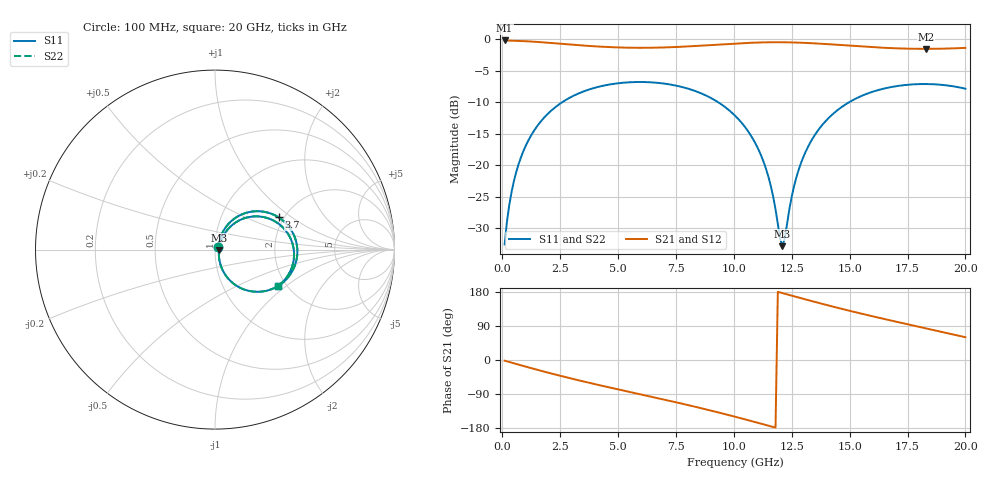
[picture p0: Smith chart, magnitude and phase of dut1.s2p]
! Touchstone file exported from HFSS 2026.1.0
!  File:  C:/ffzhzh/LocalFiles/Ansys_Project_Files/temp_test_TSV_RDL_1_1782978426_45568.aedt
!  Generated:  04:04:23 PM Jul  2, 2026
!  Design:  TSV_RDL
!  Project:  temp_test_TSV_RDL_1_1782978426_45568
! Variables:
!  h_bsmrdl = 5.18um
!  h_ox = 20um
!  h_rdl = 5um
!  h_sub = 77.09um
!  h_tmrdl = 5.94um
!  h_tsv = 77.09um
!  h_via = 3um
!  l_bsmrdl = 448.6um
!  l_sub = 5218.2um
!  l_tmrdl = 827.78um
!  m_sub = 200um
!  pitch = 49.79um
!  r_tsv = 3.22um
!  s_tmrdl = 10um
!  w_bsmrdl = 24.08um
!  w_sub = 500um
!  w_tmrdl = 29.68um
!  x_tsv_center1 = 842.62um
!  x_tsv_center2 = 1315.3um
!  x_tsv_center3 = 2172.76um
!  x_tsv_center4 = 2645.44um
!  x_tsv_center5 = 3502.9um
!  x_tsv_center6 = 3975.58um
# GHz S MA R 50.000000
! Terminal data exported
! Port[1] = TM_RDL1_1_T1
! Port[2] = TM_RDL5_1_T1
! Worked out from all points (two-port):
!   200 points, 100 MHz to 20 GHz, reference 50 ohm
!   highest |S21| = -0.15 dB at 100 MHz (marker M1); lowest = -1.5 dB at 18.3 GHz (marker M2)
!   |S21| within 3 dB of the highest: start of sweep to end of sweep
!   lowest |S11| = -32.9 dB at 12.1 GHz (marker M3), VSWR 1.05, Z = 52.3 - j0.212 ohm
!   |S11| at or under -10 dB: start of sweep to 2.579 GHz; 9.33 GHz to 14.97 GHz (5.641 GHz wide, 46.4 % of centre)
!   |S22| runs from -32.9 to -6.8 dB; largest |S21 - S12| = 1.7e-14
!   S11 on the Smith chart (normalised r, x): 100 MHz: 1.04, +0.03; 3.7 GHz: 1.88, +0.80; 20 GHz: 1.82, -0.88
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0.1  0.0234 40.3  0.9825 -1.8  0.9825 -1.8  0.0234 40.3
! Gamma 0 0 0 0
! Port Impedance 50 0 50 0
0.3  0.04804 61.4  0.98 -5.3  0.98 -5.3  0.04804 61.4
0.5  0.07455 65.9  0.9777 -8.8  0.9777 -8.8  0.07455 65.9
1.1  0.154 63.0  0.9669 -19.0  0.9669 -19.0  0.154 63.0
2.1  0.2704 49.5  0.9383 -35.4  0.9383 -35.4  0.2704 49.5
3.5  0.3856 29.6  0.895 -56.6  0.895 -56.6  0.3856 29.6
3.7  0.3975 26.9  0.8897 -59.4  0.8897 -59.4  0.3975 26.8
5.3  0.4543 5.6  0.8617 -81.6  0.8617 -81.6  0.4543 5.6
6.8  0.4503 -13.7  0.8625 -101.9  0.8625 -101.9  0.4503 -13.8
8.5  0.3786 -36.3  0.8915 -125.9  0.8915 -125.9  0.3786 -36.3
10.1  0.2427 -58.2  0.9297 -150.4  0.9297 -150.4  0.2427 -58.2
10.8  0.1647 -66.7  0.9428 -161.8  0.9428 -161.8  0.1647 -66.7
11.3  0.1045 -70.1  0.9487 -170.1  0.9487 -170.1  0.1045 -70.2
11.6  0.06793 -68.0  0.9505 -175.1  0.9505 -175.1  0.0679 -68.1
12  0.02598 -33.2  0.9509 178.2  0.9509 178.2  0.02586 -33.4
12.1  0.02269 -5.1  0.9506 176.5  0.9506 176.5  0.02254 -5.2
12.7  0.07994 58.1  0.9456 166.4  0.9456 166.4  0.07988 58.2
13.4  0.1627 55.4  0.9337 154.9  0.9337 154.9  0.1627 55.4
14.8  0.3025 37.8  0.8985 132.8  0.8985 132.8  0.3024 37.8
16.7  0.4153 12.6  0.8552 105.3  0.8552 105.3  0.4152 12.6
18.3  0.4422 -7.9  0.8424 83.5  0.8424 83.5  0.4422 -7.9
20  0.4059 -29.7  0.8575 60.1  0.8575 60.1  0.4059 -29.7
